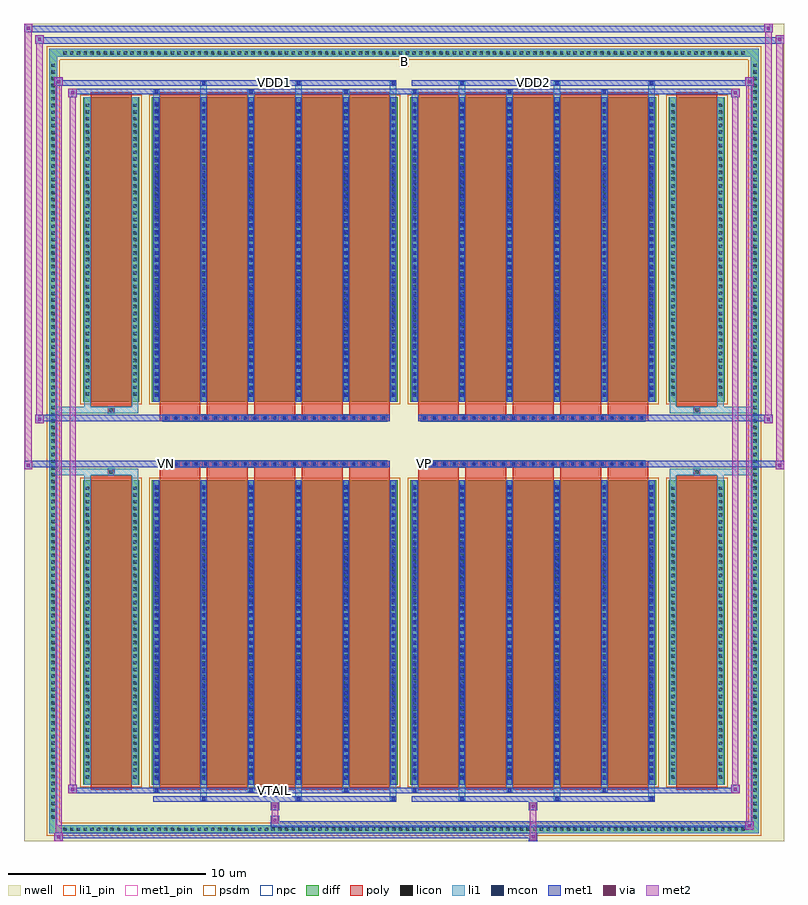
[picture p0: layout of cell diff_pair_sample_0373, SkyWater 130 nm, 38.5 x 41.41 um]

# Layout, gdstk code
import gdstk
lib = gdstk.Library(unit=1e-6, precision=5e-09)
def R(c, l, rs):  # rectangles x0, y0, x1, y1
    for r in rs: c.add(gdstk.rectangle(r[:2], r[2:], *l))
def A(c, l, x, y, w, h, nx, ny, dx, dy):  # array of equal rectangles
    R(c, l, [(x+i*dx, y+j*dy, x+i*dx+w, y+j*dy+h) for i in range(nx) for j in range(ny)])
def P(c, l, *ps):  # polygons
    for p in ps: c.add(gdstk.Polygon(p, *l))
nwell = (64, 20)
diff = (65, 20)
poly = (66, 20)
licon = (66, 44)
li1_pin = (67, 16)
li1 = (67, 20)
mcon = (67, 44)
met1_pin = (68, 16)
met1 = (68, 20)
via = (68, 44)
met2 = (69, 20)
psdm = (94, 20)
npc = (95, 20)

diff_pair_sample_0373 = lib.new_cell('diff_pair_sample_0373')
R(diff_pair_sample_0373, nwell, [(-19.25,-20.27,19.25,21.14), (-16.57,-18.46,-0.01,-0.8), (0.01,-18.46,16.57,-0.8), (-16.57,0.8,-0.01,18.46), (0.01,0.8,16.57,18.46)])
A(diff_pair_sample_0373, diff, -17.375, -19.87, 0.41, 0.41, 102, 2, 0.34, 39.33)
A(diff_pair_sample_0373, diff, -17.98, -19.245, 0.41, 0.41, 1, 113, 0, 0.34)
A(diff_pair_sample_0373, diff, 17.57, -19.245, 0.41, 0.41, 1, 113, 0, 0.34)
R(diff_pair_sample_0373, diff, [(-17.375,-19.87,17.375,-19.46), (-17.98,-19.245,-17.57,19.245), (17.57,-19.245,17.98,19.245), (-16.26,-17.415,-13.41,-1.985), (-12.77,-17.415,-0.32,-1.985), (0.32,-17.415,12.77,-1.985), (13.41,-17.415,16.26,-1.985), (-16.26,1.985,-13.41,17.415), (-12.77,1.985,-0.32,17.415), (0.32,1.985,12.77,17.415), (13.41,1.985,16.26,17.415), (-17.375,19.46,17.375,19.87)])
P(diff_pair_sample_0373, diff, [(17.98,19.87),(-17.98,19.87),(-17.98,-19.46),(-17.57,-19.46),(-17.57,19.46),(17.57,19.46),(17.57,-19.46),(-17.57,-19.46),(-17.98,-19.46),(-17.98,-19.87),(17.98,-19.87)])
A(diff_pair_sample_0373, poly, -12.38, -17.665, 2.07, 15.93, 5, 2, 2.4, 19.4)
A(diff_pair_sample_0373, poly, 0.71, -17.665, 2.07, 15.93, 5, 2, 2.4, 19.4)
A(diff_pair_sample_0373, poly, -12.38, -1.735, 2.07, 0.405, 5, 2, 2.4, 3.065)
A(diff_pair_sample_0373, poly, 0.71, -1.735, 2.07, 0.405, 5, 2, 2.4, 3.065)
A(diff_pair_sample_0373, poly, -12.21, -1.33, 0.33, 0.33, 23, 2, 0.5, 2.33)
A(diff_pair_sample_0373, poly, 0.88, -1.33, 0.33, 0.33, 23, 2, 0.5, 2.33)
R(diff_pair_sample_0373, poly, [(-15.87,-17.665,-13.8,-1.735), (13.8,-17.665,15.87,-1.735), (-15,-1.735,-14.67,-1.405), (-15,-1.735,-14.67,-1.405), (14.67,-1.735,15,-1.405), (14.67,-1.735,15,-1.405), (-12.38,-1.33,-0.71,-1), (0.71,-1.33,12.38,-1), (-12.38,1,-0.71,1.33), (0.71,1,12.38,1.33), (-15,1.405,-14.67,1.735), (-15,1.405,-14.67,1.735), (14.67,1.405,15,1.735), (14.67,1.405,15,1.735), (-15.87,1.735,-13.8,17.665), (13.8,1.735,15.87,17.665)])
A(diff_pair_sample_0373, licon, -17.255, -19.75, 0.17, 0.17, 102, 2, 0.34, 39.33)
A(diff_pair_sample_0373, licon, -17.86, -19.125, 0.17, 0.17, 1, 113, 0, 0.34)
A(diff_pair_sample_0373, licon, 17.69, -19.125, 0.17, 0.17, 1, 113, 0, 0.34)
A(diff_pair_sample_0373, licon, -16.12, -17.095, 0.17, 0.17, 1, 44, 0, 0.34)
A(diff_pair_sample_0373, licon, -13.72, -17.095, 0.17, 0.17, 1, 44, 0, 0.34)
A(diff_pair_sample_0373, licon, -12.63, -17.095, 0.17, 0.17, 6, 44, 2.4, 0.34)
A(diff_pair_sample_0373, licon, 0.46, -17.095, 0.17, 0.17, 6, 44, 2.4, 0.34)
A(diff_pair_sample_0373, licon, 13.55, -17.095, 0.17, 0.17, 1, 44, 0, 0.34)
A(diff_pair_sample_0373, licon, 15.95, -17.095, 0.17, 0.17, 1, 44, 0, 0.34)
A(diff_pair_sample_0373, licon, -12.13, -1.25, 0.17, 0.17, 23, 2, 0.5, 2.33)
A(diff_pair_sample_0373, licon, 0.96, -1.25, 0.17, 0.17, 23, 2, 0.5, 2.33)
A(diff_pair_sample_0373, licon, -16.12, 2.305, 0.17, 0.17, 1, 44, 0, 0.34)
A(diff_pair_sample_0373, licon, -13.72, 2.305, 0.17, 0.17, 1, 44, 0, 0.34)
A(diff_pair_sample_0373, licon, -12.63, 2.305, 0.17, 0.17, 6, 44, 2.4, 0.34)
A(diff_pair_sample_0373, licon, 0.46, 2.305, 0.17, 0.17, 6, 44, 2.4, 0.34)
A(diff_pair_sample_0373, licon, 13.55, 2.305, 0.17, 0.17, 1, 44, 0, 0.34)
A(diff_pair_sample_0373, licon, 15.95, 2.305, 0.17, 0.17, 1, 44, 0, 0.34)
R(diff_pair_sample_0373, licon, [(-14.92,-1.655,-14.75,-1.485), (14.75,-1.655,14.92,-1.485), (-14.92,1.485,-14.75,1.655), (14.75,1.485,14.92,1.655)])
R(diff_pair_sample_0373, li1_pin, [(-0.25,18.96,0.25,19.46)])
A(diff_pair_sample_0373, li1, -17.335, -19.83, 0.33, 0.33, 102, 2, 0.34, 39.33)
A(diff_pair_sample_0373, li1, -17.94, -19.205, 0.33, 0.33, 1, 113, 0, 0.34)
A(diff_pair_sample_0373, li1, 17.61, -19.205, 0.33, 0.33, 1, 113, 0, 0.34)
A(diff_pair_sample_0373, li1, -10.31, -18.22, 0.33, 0.805, 3, 2, 4.8, 35.635)
A(diff_pair_sample_0373, li1, -10.23, -18.22, 0.17, 0.17, 3, 2, 4.8, 36.27)
A(diff_pair_sample_0373, li1, 2.78, -18.22, 0.33, 0.805, 3, 2, 4.8, 35.635)
A(diff_pair_sample_0373, li1, 2.86, -18.22, 0.17, 0.17, 3, 2, 4.8, 36.27)
A(diff_pair_sample_0373, li1, -12.71, -17.79, 0.33, 0.375, 3, 2, 4.8, 35.205)
A(diff_pair_sample_0373, li1, -12.63, -17.79, 0.17, 0.17, 3, 2, 4.8, 35.41)
A(diff_pair_sample_0373, li1, 0.38, -17.79, 0.33, 0.375, 3, 2, 4.8, 35.205)
A(diff_pair_sample_0373, li1, 0.46, -17.79, 0.17, 0.17, 3, 2, 4.8, 35.41)
A(diff_pair_sample_0373, li1, -12.71, -17.415, 0.33, 15.43, 6, 2, 2.4, 19.4)
A(diff_pair_sample_0373, li1, 0.38, -17.415, 0.33, 15.43, 6, 2, 2.4, 19.4)
A(diff_pair_sample_0373, li1, -16.2, -17.175, 0.33, 0.33, 1, 44, 0, 0.34)
A(diff_pair_sample_0373, li1, -13.8, -17.175, 0.33, 0.33, 1, 44, 0, 0.34)
A(diff_pair_sample_0373, li1, -12.71, -17.175, 0.33, 0.33, 6, 44, 2.4, 0.34)
A(diff_pair_sample_0373, li1, 0.38, -17.175, 0.33, 0.33, 6, 44, 2.4, 0.34)
A(diff_pair_sample_0373, li1, 13.47, -17.175, 0.33, 0.33, 1, 44, 0, 0.34)
A(diff_pair_sample_0373, li1, 15.87, -17.175, 0.33, 0.33, 1, 44, 0, 0.34)
A(diff_pair_sample_0373, li1, -12.63, -17.165, 0.17, 0.17, 6, 42, 2.4, 0.36)
A(diff_pair_sample_0373, li1, -12.63, -17.165, 0.17, 14.93, 6, 2, 2.4, 19.4)
A(diff_pair_sample_0373, li1, 0.46, -17.165, 0.17, 0.17, 6, 42, 2.4, 0.36)
A(diff_pair_sample_0373, li1, 0.46, -17.165, 0.17, 14.93, 6, 2, 2.4, 19.4)
A(diff_pair_sample_0373, li1, -12.21, -1.33, 0.33, 0.33, 23, 2, 0.5, 2.33)
A(diff_pair_sample_0373, li1, 0.88, -1.33, 0.33, 0.33, 23, 2, 0.5, 2.33)
A(diff_pair_sample_0373, li1, -16.2, 2.225, 0.33, 0.33, 1, 44, 0, 0.34)
A(diff_pair_sample_0373, li1, -13.8, 2.225, 0.33, 0.33, 1, 44, 0, 0.34)
A(diff_pair_sample_0373, li1, -12.71, 2.225, 0.33, 0.33, 6, 44, 2.4, 0.34)
A(diff_pair_sample_0373, li1, 0.38, 2.225, 0.33, 0.33, 6, 44, 2.4, 0.34)
A(diff_pair_sample_0373, li1, 13.47, 2.225, 0.33, 0.33, 1, 44, 0, 0.34)
A(diff_pair_sample_0373, li1, 15.87, 2.225, 0.33, 0.33, 1, 44, 0, 0.34)
A(diff_pair_sample_0373, li1, -12.63, 2.235, 0.17, 0.17, 6, 42, 2.4, 0.36)
A(diff_pair_sample_0373, li1, 0.46, 2.235, 0.17, 0.17, 6, 42, 2.4, 0.36)
R(diff_pair_sample_0373, li1, [(-17.98,-19.87,-17.57,-19.46), (-17.98,-19.87,-17.57,-19.46), (-17.57,-19.87,17.57,-19.46), (17.57,-19.87,17.98,-19.46), (17.57,-19.87,17.98,-19.46), (-17.98,-19.46,-17.57,19.46), (17.57,-19.46,17.98,19.46), (-16.2,-17.415,-15.87,-1.985), (-13.8,-17.415,-13.47,-1.985), (13.47,-17.415,13.8,-1.985), (15.87,-17.415,16.2,-1.985), (-16.2,-1.985,-15.87,-1.405), (-13.8,-1.985,-13.47,-1.405), (13.47,-1.985,13.8,-1.405), (15.87,-1.985,16.2,-1.405), (-17.98,-1.735,-15,-1.405), (-16.2,-1.735,-15,-1.405), (-15,-1.735,-14.67,-1.405), (-14.67,-1.735,-13.47,-1.405), (13.47,-1.735,14.67,-1.405), (14.67,-1.735,15,-1.405), (14.67,-1.735,17.98,-1.405), (15,-1.735,16.2,-1.405), (-17.98,1.405,-15,1.735), (-16.2,1.405,-15,1.735), (-16.2,1.405,-15.87,1.985), (-15,1.405,-14.67,1.735), (-14.67,1.405,-13.47,1.735), (-13.8,1.405,-13.47,1.985), (13.47,1.405,14.67,1.735), (13.47,1.405,13.8,1.985), (14.67,1.405,15,1.735), (14.67,1.405,17.98,1.735), (15,1.405,16.2,1.735), (15.87,1.405,16.2,1.985), (-16.2,1.985,-15.87,17.415), (-13.8,1.985,-13.47,17.415), (13.47,1.985,13.8,17.415), (15.87,1.985,16.2,17.415), (-17.98,19.46,-17.57,19.87), (-17.98,19.46,-17.57,19.87), (-17.57,19.46,17.57,19.87), (17.57,19.46,17.98,19.87), (17.57,19.46,17.98,19.87)])
A(diff_pair_sample_0373, mcon, -10.23, -18.22, 0.17, 0.17, 3, 2, 4.8, 36.27)
A(diff_pair_sample_0373, mcon, 2.86, -18.22, 0.17, 0.17, 3, 2, 4.8, 36.27)
A(diff_pair_sample_0373, mcon, -12.63, -17.79, 0.17, 0.17, 3, 2, 4.8, 35.41)
A(diff_pair_sample_0373, mcon, 0.46, -17.79, 0.17, 0.17, 3, 2, 4.8, 35.41)
A(diff_pair_sample_0373, mcon, -12.63, -17.165, 0.17, 0.17, 6, 42, 2.4, 0.36)
A(diff_pair_sample_0373, mcon, 0.46, -17.165, 0.17, 0.17, 6, 42, 2.4, 0.36)
A(diff_pair_sample_0373, mcon, -12.13, -1.25, 0.17, 0.17, 23, 2, 0.5, 2.33)
A(diff_pair_sample_0373, mcon, 0.96, -1.25, 0.17, 0.17, 23, 2, 0.5, 2.33)
A(diff_pair_sample_0373, mcon, -12.63, 2.235, 0.17, 0.17, 6, 42, 2.4, 0.36)
A(diff_pair_sample_0373, mcon, 0.46, 2.235, 0.17, 0.17, 6, 42, 2.4, 0.36)
R(diff_pair_sample_0373, met1_pin, [(-6.68,-17.83,-6.41,-17.56), (-12.18,-1.29,-11.91,-1.02), (0.91,-1.29,1.18,-1.02), (-6.68,18.01,-6.41,18.28), (6.41,18.01,6.68,18.28)])
A(diff_pair_sample_0373, met1, -10.29, -18.28, 0.29, 0.29, 3, 2, 4.8, 36.27)
A(diff_pair_sample_0373, met1, 2.8, -18.28, 0.29, 0.29, 3, 2, 4.8, 36.27)
A(diff_pair_sample_0373, met1, -12.69, -17.85, 0.29, 0.29, 3, 2, 4.8, 35.41)
A(diff_pair_sample_0373, met1, 0.4, -17.85, 0.29, 0.29, 3, 2, 4.8, 35.41)
A(diff_pair_sample_0373, met1, -12.69, -17.415, 0.29, 15.43, 6, 2, 2.4, 19.4)
A(diff_pair_sample_0373, met1, 0.4, -17.415, 0.29, 15.43, 6, 2, 2.4, 19.4)
A(diff_pair_sample_0373, met1, -12.69, -17.225, 0.29, 0.29, 6, 42, 2.4, 0.36)
A(diff_pair_sample_0373, met1, 0.4, -17.225, 0.29, 0.29, 6, 42, 2.4, 0.36)
A(diff_pair_sample_0373, met1, -12.19, -1.31, 0.29, 0.29, 23, 2, 0.5, 2.33)
A(diff_pair_sample_0373, met1, 0.9, -1.31, 0.29, 0.29, 23, 2, 0.5, 2.33)
A(diff_pair_sample_0373, met1, -12.69, 2.175, 0.29, 0.29, 6, 42, 2.4, 0.36)
A(diff_pair_sample_0373, met1, 0.4, 2.175, 0.29, 0.29, 6, 42, 2.4, 0.36)
R(diff_pair_sample_0373, met1, [(-17.71,-20.27,-17.28,-19.84), (6.33,-20.27,6.76,-19.84), (-17.71,-20.13,6.76,-19.84), (17.28,-19.7,17.71,-19.27), (-6.76,-19.56,17.71,-19.27), (-6.76,-19.42,-6.33,-18.99), (-6.76,-18.71,-6.33,-18.28), (6.33,-18.71,6.76,-18.28), (-12.69,-18.28,-0.4,-17.99), (0.4,-18.28,12.69,-17.99), (-17,-17.85,-16.57,-17.42), (-17,-17.85,-12.69,-17.56), (-12.69,-17.85,-0.4,-17.56), (-0.4,-17.85,0.4,-17.56), (0.4,-17.85,12.69,-17.56), (12.69,-17.85,17,-17.56), (16.57,-17.85,17,-17.42), (-19.25,-1.43,-18.82,-1), (18.82,-1.43,19.25,-1), (-19.25,-1.33,-0.71,-1), (-12.38,-1.33,-0.71,-1), (0.71,-1.33,12.38,-1), (0.71,-1.33,19.25,-1), (-18.68,0.9,-18.25,1.33), (18.25,0.9,18.68,1.33), (-18.68,1,-12.38,1.33), (-12.38,1,-0.71,1.33), (0.71,1,12.38,1.33), (12.38,1,18.68,1.33), (-17,17.42,-16.57,17.85), (16.57,17.42,17,17.85), (-17,17.56,-12.69,17.85), (-12.69,17.56,-0.4,17.85), (-0.4,17.56,0.4,17.85), (0.4,17.56,12.69,17.85), (12.69,17.56,17,17.85), (-17.71,17.99,-17.28,18.42), (-17.71,17.99,-12.69,18.28), (-12.69,17.99,-0.4,18.28), (0.4,17.99,12.69,18.28), (12.69,17.99,17.71,18.28), (17.28,17.99,17.71,18.42), (-18.68,20.14,-18.25,20.57), (-18.68,20.14,-16.57,20.47), (-16.57,20.14,16.57,20.47), (16.57,20.14,19.25,20.47), (18.82,20.14,19.25,20.57), (-19.25,20.71,-18.82,21.14), (-19.25,20.71,-16.57,21.04), (-16.57,20.71,16.57,21.04), (16.57,20.71,18.68,21.04), (18.25,20.71,18.68,21.14)])
R(diff_pair_sample_0373, via, [(-17.57,-20.13,-17.42,-19.98), (6.47,-20.13,6.62,-19.98), (17.42,-19.56,17.57,-19.41), (-6.62,-19.28,-6.47,-19.13), (-6.62,-18.57,-6.47,-18.42), (6.47,-18.57,6.62,-18.42), (-16.86,-17.71,-16.71,-17.56), (16.71,-17.71,16.86,-17.56), (-19.11,-1.29,-18.96,-1.14), (18.96,-1.29,19.11,-1.14), (-18.54,1.04,-18.39,1.19), (18.39,1.04,18.54,1.19), (-16.86,17.56,-16.71,17.71), (16.71,17.56,16.86,17.71), (-17.57,18.13,-17.42,18.28), (17.42,18.13,17.57,18.28), (-18.54,20.28,-18.39,20.43), (18.96,20.28,19.11,20.43), (-19.11,20.85,-18.96,21), (18.39,20.85,18.54,21)])
R(diff_pair_sample_0373, met2, [(-17.71,-20.27,-17.28,-19.84), (-17.64,-20.27,-17.35,18.42), (-17.35,-20.27,-17.28,-19.84), (-17.66,-20.22,-17.33,-19.89), (6.38,-20.22,6.71,-19.89), (6.38,-19.89,6.71,-18.66), (17.28,-19.7,17.71,-19.27), (17.35,-19.7,17.64,18.42), (17.64,-19.7,17.71,-19.27), (17.33,-19.65,17.66,-19.32), (-6.71,-19.37,-6.38,-19.04), (-6.71,-19.04,-6.38,-18.66), (-6.71,-18.66,-6.38,-18.33), (6.38,-18.66,6.71,-18.33), (-17,-17.85,-16.57,-17.42), (-16.93,-17.85,-16.64,17.85), (-16.64,-17.85,-16.57,-17.42), (16.57,-17.85,17,-17.42), (16.64,-17.85,16.93,17.85), (16.93,-17.85,17,-17.42), (-16.95,-17.8,-16.62,-17.47), (16.62,-17.8,16.95,-17.47), (-19.25,-1.43,-18.82,-1), (-19.2,-1.43,-18.87,21.14), (-18.87,-1.43,-18.82,-1), (18.82,-1.43,19.25,-1), (18.87,-1.43,19.2,20.57), (19.2,-1.43,19.25,-1), (-19.2,-1.38,-18.87,-1.05), (18.87,-1.38,19.2,-1.05), (-18.68,0.9,-18.25,1.33), (-18.63,0.9,-18.3,20.57), (-18.3,0.9,-18.25,1.33), (18.25,0.9,18.68,1.33), (18.3,0.9,18.63,21.14), (18.63,0.9,18.68,1.33), (-18.63,0.95,-18.3,1.28), (18.3,0.95,18.63,1.28), (-17,17.42,-16.57,17.85), (-16.64,17.42,-16.57,17.85), (16.57,17.42,17,17.85), (16.93,17.42,17,17.85), (-16.95,17.47,-16.62,17.8), (16.62,17.47,16.95,17.8), (-17.71,17.99,-17.28,18.42), (-17.35,17.99,-17.28,18.42), (17.28,17.99,17.71,18.42), (17.64,17.99,17.71,18.42), (-17.66,18.04,-17.33,18.37), (17.33,18.04,17.66,18.37), (-18.68,20.14,-18.25,20.57), (-18.3,20.14,-18.25,20.57), (18.82,20.14,19.25,20.57), (19.2,20.14,19.25,20.57), (-18.63,20.19,-18.3,20.52), (18.87,20.19,19.2,20.52), (-19.25,20.71,-18.82,21.14), (-18.87,20.71,-18.82,21.14), (18.25,20.71,18.68,21.14), (18.63,20.71,18.68,21.14), (-19.2,20.76,-18.87,21.09), (18.3,20.76,18.63,21.09)])
R(diff_pair_sample_0373, psdm, [(-16.39,-17.545,-13.28,-1.855), (-12.9,-17.545,-0.19,-1.855), (0.19,-17.545,12.9,-1.855), (13.28,-17.545,16.39,-1.855), (-16.39,1.855,-13.28,17.545), (-12.9,1.855,-0.19,17.545), (0.19,1.855,12.9,17.545), (13.28,1.855,16.39,17.545)])
P(diff_pair_sample_0373, psdm, [(18.11,20),(-18.11,20),(-18.11,-19.33),(-17.44,-19.33),(-17.44,19.33),(17.44,19.33),(17.44,-19.33),(-17.44,-19.33),(-18.11,-19.33),(-18.11,-20),(18.11,-20)])
A(diff_pair_sample_0373, npc, -12.23, -1.35, 0.37, 0.37, 23, 2, 0.5, 2.33)
A(diff_pair_sample_0373, npc, 0.86, -1.35, 0.37, 0.37, 23, 2, 0.5, 2.33)
R(diff_pair_sample_0373, npc, [(-15.02,-1.755,-14.65,-1.385), (14.65,-1.755,15.02,-1.385), (-12.23,-1.35,-11.36,-0.98), (-12.23,-1.35,-11.36,-0.98), (-11.73,-1.35,-10.86,-0.98), (-11.73,-1.35,-10.86,-0.98), (-11.23,-1.35,-10.36,-0.98), (-11.23,-1.35,-10.36,-0.98), (-10.73,-1.35,-9.86,-0.98), (-10.73,-1.35,-9.86,-0.98), (-10.23,-1.35,-9.36,-0.98), (-10.23,-1.35,-9.36,-0.98), (-9.73,-1.35,-8.86,-0.98), (-9.73,-1.35,-8.86,-0.98), (-9.23,-1.35,-8.36,-0.98), (-9.23,-1.35,-8.36,-0.98), (-8.73,-1.35,-7.86,-0.98), (-8.73,-1.35,-7.86,-0.98), (-8.23,-1.35,-7.36,-0.98), (-8.23,-1.35,-7.36,-0.98), (-7.73,-1.35,-6.86,-0.98), (-7.73,-1.35,-6.86,-0.98), (-7.23,-1.35,-6.36,-0.98), (-7.23,-1.35,-6.36,-0.98), (-6.73,-1.35,-5.86,-0.98), (-6.73,-1.35,-5.86,-0.98), (-6.23,-1.35,-5.36,-0.98), (-6.23,-1.35,-5.36,-0.98), (-5.73,-1.35,-4.86,-0.98), (-5.73,-1.35,-4.86,-0.98), (-5.23,-1.35,-4.36,-0.98), (-5.23,-1.35,-4.36,-0.98), (-4.73,-1.35,-3.86,-0.98), (-4.73,-1.35,-3.86,-0.98), (-4.23,-1.35,-3.36,-0.98), (-4.23,-1.35,-3.36,-0.98), (-3.73,-1.35,-2.86,-0.98), (-3.73,-1.35,-2.86,-0.98), (-3.23,-1.35,-2.36,-0.98), (-3.23,-1.35,-2.36,-0.98), (-2.73,-1.35,-1.86,-0.98), (-2.73,-1.35,-1.86,-0.98), (-2.23,-1.35,-1.36,-0.98), (-2.23,-1.35,-1.36,-0.98), (-1.73,-1.35,-0.86,-0.98), (-1.73,-1.35,-0.86,-0.98), (0.86,-1.35,1.73,-0.98), (0.86,-1.35,1.73,-0.98), (1.36,-1.35,2.23,-0.98), (1.36,-1.35,2.23,-0.98), (1.86,-1.35,2.73,-0.98), (1.86,-1.35,2.73,-0.98), (2.36,-1.35,3.23,-0.98), (2.36,-1.35,3.23,-0.98), (2.86,-1.35,3.73,-0.98), (2.86,-1.35,3.73,-0.98), (3.36,-1.35,4.23,-0.98), (3.36,-1.35,4.23,-0.98), (3.86,-1.35,4.73,-0.98), (3.86,-1.35,4.73,-0.98), (4.36,-1.35,5.23,-0.98), (4.36,-1.35,5.23,-0.98), (4.86,-1.35,5.73,-0.98), (4.86,-1.35,5.73,-0.98), (5.36,-1.35,6.23,-0.98), (5.36,-1.35,6.23,-0.98), (5.86,-1.35,6.73,-0.98), (5.86,-1.35,6.73,-0.98), (6.36,-1.35,7.23,-0.98), (6.36,-1.35,7.23,-0.98), (6.86,-1.35,7.73,-0.98), (6.86,-1.35,7.73,-0.98), (7.36,-1.35,8.23,-0.98), (7.36,-1.35,8.23,-0.98), (7.86,-1.35,8.73,-0.98), (7.86,-1.35,8.73,-0.98), (8.36,-1.35,9.23,-0.98), (8.36,-1.35,9.23,-0.98), (8.86,-1.35,9.73,-0.98), (8.86,-1.35,9.73,-0.98), (9.36,-1.35,10.23,-0.98), (9.36,-1.35,10.23,-0.98), (9.86,-1.35,10.73,-0.98), (9.86,-1.35,10.73,-0.98), (10.36,-1.35,11.23,-0.98), (10.36,-1.35,11.23,-0.98), (10.86,-1.35,11.73,-0.98), (10.86,-1.35,11.73,-0.98), (11.36,-1.35,12.23,-0.98), (11.36,-1.35,12.23,-0.98), (-12.23,0.98,-11.36,1.35), (-12.23,0.98,-11.36,1.35), (-11.73,0.98,-10.86,1.35), (-11.73,0.98,-10.86,1.35), (-11.23,0.98,-10.36,1.35), (-11.23,0.98,-10.36,1.35), (-10.73,0.98,-9.86,1.35), (-10.73,0.98,-9.86,1.35), (-10.23,0.98,-9.36,1.35), (-10.23,0.98,-9.36,1.35), (-9.73,0.98,-8.86,1.35), (-9.73,0.98,-8.86,1.35), (-9.23,0.98,-8.36,1.35), (-9.23,0.98,-8.36,1.35), (-8.73,0.98,-7.86,1.35), (-8.73,0.98,-7.86,1.35), (-8.23,0.98,-7.36,1.35), (-8.23,0.98,-7.36,1.35), (-7.73,0.98,-6.86,1.35), (-7.73,0.98,-6.86,1.35), (-7.23,0.98,-6.36,1.35), (-7.23,0.98,-6.36,1.35), (-6.73,0.98,-5.86,1.35), (-6.73,0.98,-5.86,1.35), (-6.23,0.98,-5.36,1.35), (-6.23,0.98,-5.36,1.35), (-5.73,0.98,-4.86,1.35), (-5.73,0.98,-4.86,1.35), (-5.23,0.98,-4.36,1.35), (-5.23,0.98,-4.36,1.35), (-4.73,0.98,-3.86,1.35), (-4.73,0.98,-3.86,1.35), (-4.23,0.98,-3.36,1.35), (-4.23,0.98,-3.36,1.35), (-3.73,0.98,-2.86,1.35), (-3.73,0.98,-2.86,1.35), (-3.23,0.98,-2.36,1.35), (-3.23,0.98,-2.36,1.35), (-2.73,0.98,-1.86,1.35), (-2.73,0.98,-1.86,1.35), (-2.23,0.98,-1.36,1.35), (-2.23,0.98,-1.36,1.35), (-1.73,0.98,-0.86,1.35), (-1.73,0.98,-0.86,1.35), (0.86,0.98,1.73,1.35), (0.86,0.98,1.73,1.35), (1.36,0.98,2.23,1.35), (1.36,0.98,2.23,1.35), (1.86,0.98,2.73,1.35), (1.86,0.98,2.73,1.35), (2.36,0.98,3.23,1.35), (2.36,0.98,3.23,1.35), (2.86,0.98,3.73,1.35), (2.86,0.98,3.73,1.35), (3.36,0.98,4.23,1.35), (3.36,0.98,4.23,1.35), (3.86,0.98,4.73,1.35), (3.86,0.98,4.73,1.35), (4.36,0.98,5.23,1.35), (4.36,0.98,5.23,1.35), (4.86,0.98,5.73,1.35), (4.86,0.98,5.73,1.35), (5.36,0.98,6.23,1.35), (5.36,0.98,6.23,1.35), (5.86,0.98,6.73,1.35), (5.86,0.98,6.73,1.35), (6.36,0.98,7.23,1.35), (6.36,0.98,7.23,1.35), (6.86,0.98,7.73,1.35), (6.86,0.98,7.73,1.35), (7.36,0.98,8.23,1.35), (7.36,0.98,8.23,1.35), (7.86,0.98,8.73,1.35), (7.86,0.98,8.73,1.35), (8.36,0.98,9.23,1.35), (8.36,0.98,9.23,1.35), (8.86,0.98,9.73,1.35), (8.86,0.98,9.73,1.35), (9.36,0.98,10.23,1.35), (9.36,0.98,10.23,1.35), (9.86,0.98,10.73,1.35), (9.86,0.98,10.73,1.35), (10.36,0.98,11.23,1.35), (10.36,0.98,11.23,1.35), (10.86,0.98,11.73,1.35), (10.86,0.98,11.73,1.35), (11.36,0.98,12.23,1.35), (11.36,0.98,12.23,1.35), (-15.02,1.385,-14.65,1.755), (14.65,1.385,15.02,1.755)])
diff_pair_sample_0373.add(gdstk.Label('VTAIL', (-6.545,-17.695), layer=68, texttype=5))
diff_pair_sample_0373.add(gdstk.Label('VN', (-12.045,-1.155), layer=68, texttype=5))
diff_pair_sample_0373.add(gdstk.Label('VP', (1.045,-1.155), layer=68, texttype=5))
diff_pair_sample_0373.add(gdstk.Label('B', (0,19.21), layer=67, texttype=5))
diff_pair_sample_0373.add(gdstk.Label('VDD2', (6.545,18.145), layer=68, texttype=5))
diff_pair_sample_0373.add(gdstk.Label('VDD1', (-6.545,18.145), layer=68, texttype=5))

lib.write_gds('diff_pair_sample_0373.gds')
